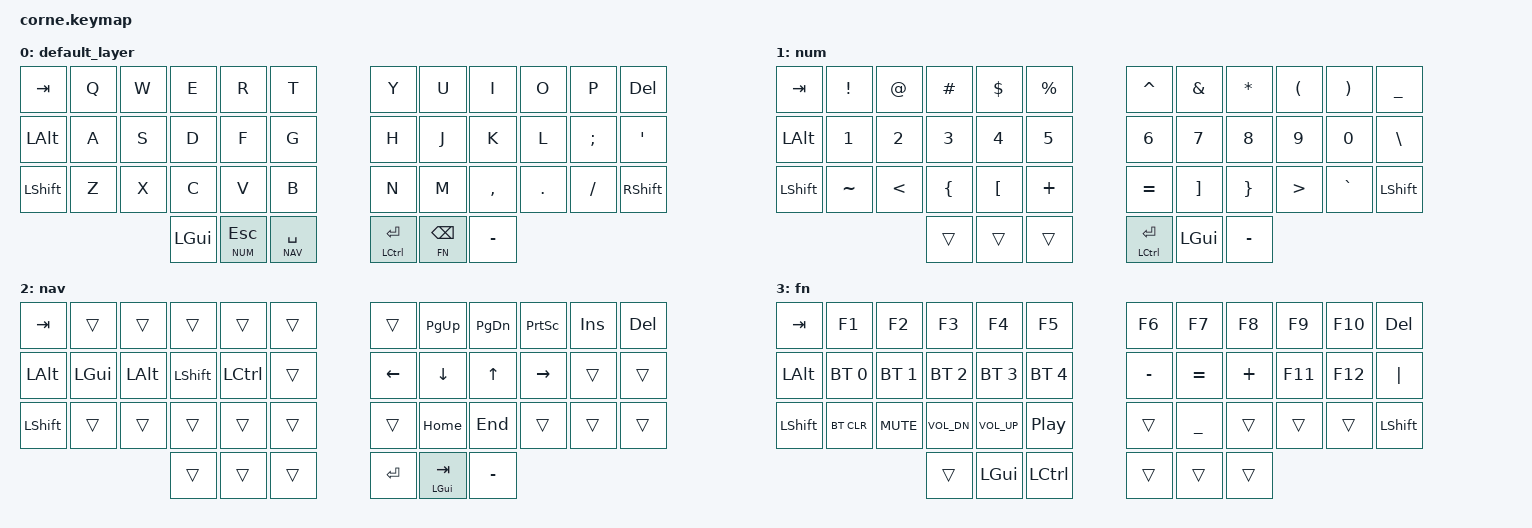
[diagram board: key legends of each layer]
/*
 * Copyright (c) 2020 The ZMK Contributors
 *
 * SPDX-License-Identifier: MIT
 */

#include <behaviors.dtsi>
#include <dt-bindings/zmk/keys.h>
#include <dt-bindings/zmk/bt.h>

// Layer definitions
#define BASE 0
#define NUM 1
#define NAV 2
#define FN 3

// Behaviors config
&mt {
    tapping-term-ms = <200>;
    quick_tap_ms = <0>;
    flavor = "tap-preferred";
};
&lt {
    tapping-term-ms = <200>;
    quick_tap_ms = <0>;
    flavor = "tap-preferred";
};

// Keymaps
/ {
        keymap {
                compatible = "zmk,keymap";
                default_layer {
// ----------------------------------------------------------------------------------------------------------------- 
// | TAB  |  Q  |  W  |    E    |    R    |     T     |      |     Y     |     U      |  I     |  O  |  P  |  DEL |
// | ALT  |  A  |  S  |    D    |    F    |     G     |      |     H     |     J      |  K     |  L  |  ;  |   '  |
// | SHFT |  Z  |  X  |    C    |    V    |     B     |      |     N     |     M      |  ,     |  .  |  /  | SHFT |
//                    |   LGUI  | ESC/NUM | SPACE/NAV |      | RET/CTRL  |  BSPC/FN   | MINUS |
                        
                        bindings = <
   &kp TAB   &kp Q &kp W &kp E &kp R   &kp T               &kp Y &kp U   &kp I     &kp O   &kp P    &kp DEL
   &kp LALT  &kp A &kp S &kp D &kp F   &kp G               &kp H &kp J   &kp K     &kp L   &kp SEMI &kp SQT
   &kp LSHFT &kp Z &kp X &kp C &kp V   &kp B               &kp N &kp M   &kp COMMA &kp DOT &kp FSLH &kp RSHFT
                 &kp LGUI &lt NUM ESC &lt NAV SPACE        &mt LCTRL RET &lt FN BSPC &kp MINUS
                        >;
                };

                num {
// // -----------------------------------------------------------------------------------------
// // |  TAB  |  !   |  @   |   #   |   $   | %  |  #   |  ^  |  &   |  *  |  (  |  )   |  _   |
// // |  ALT  |  1   |  2   |   3   |   4   | 5  |  #   |  6  |  7   |  8  |  9  |  0   |  \   |
// // |  SHFT |  ~   |  <   |   {   |   [   | +  |  #   |  =  |  ]   |  }  |  >  |  `   | SHFT |
// //                       |       | HELD  |    |  #   | RET/CTRL  |   LGUI    |  -   |
                        bindings = <
   &kp TAB    &kp EXCL  &kp AT    &kp HASH   &kp DLLR   &kp PRCNT        &kp CARET   &kp AMPS   &kp ASTRK  &kp LPAR  &kp RPAR   &kp UNDERSCORE
   &kp LALT   &kp N1    &kp N2    &kp N3     &kp N4     &kp N5           &kp N6      &kp N7     &kp N8     &kp N9    &kp N0     &kp BSLH
   &kp LSHFT  &kp TILDE &kp LT    &kp LBRC   &kp LBKT   &kp PLUS         &kp EQUAL   &kp RBKT   &kp RBRC   &kp GT    &kp GRAVE  &kp LSHFT
                                &trans      &trans      &trans           &mt LCTRL RET   &kp LGUI   &kp MINUS
                        >;
                };

                nav {
// // -----------------------------------------------------------------------------------------
// // | TAB   |        |        |        |          |      |  #   |        |  PG_UP      |  PG_DN     |  PSCRN   | INS  | DEL |
// // | ALT   |  LGUI  |  LALT  | LSHFT  |   LCTRL  |      |  #   |  LEFT  |  DOWN       |  UP        |  RIGHT   |      |     |
// // | SHFT  |        |        |        |          |      |  #   |        |  HOME       |  END       |          |      |     |
// //                           |        |          | HELD |  #   |   RET  |  TAB/LGUI   |   -        |
                        bindings = <
   &kp TAB    &trans       &trans       &trans       &trans       &trans         &trans    &kp PG_UP &kp PG_DN &kp PSCRN &kp INS  &kp DEL
   &kp LALT   &kp LGUI     &kp LALT     &kp LSHFT    &kp LCTRL    &trans         &kp LEFT  &kp DOWN  &kp UP    &kp RIGHT &trans  &trans
   &kp LSHFT  &trans       &trans       &trans       &trans       &trans         &trans    &kp HOME  &kp END   &trans    &trans   &trans
                                        &trans       &trans       &trans         &kp RET   &mt LGUI TAB  &kp MINUS
                        >;
                };

                fn {
// // -----------------------------------------------------------------------------------------
// // |  TAB     |  F1    |  F2      |   F3           |   F4            |  F5     | #  |  F6  |  F7  | F8  |  F9  |  F10  |    DEL  |
// // |  ALT     |  BT0   |  BT1     |   BT2          |   BT3           |  BT4    | #  |  -   |  =   |  +  |  F11 |  F12  |   "|"   |
// // |  SHFT    |  BTCLR |  C_MUTE  |   C_VOL_DN     |   C_VOL_UP      |  C_PP   | #  |      |  _   |     |      |       |  SHFT   |
// //                                |                |  LGUI           |  CTRL   | #  |      | HELD |     | 
                        bindings = <
   &kp TAB    &kp F1     &kp F2     &kp F3        &kp F4        &kp F5            &kp F6     &kp F7     &kp F8     &kp F9    &kp F10   &kp DEL
   &kp LALT   &bt BT_SEL 0 &bt BT_SEL 1 &bt BT_SEL 2 &bt BT_SEL 3 &bt BT_SEL 4    &kp MINUS &kp EQUAL  &kp PLUS   &kp F11  &kp F12   &kp PIPE
   &kp LSHFT  &bt BT_CLR &kp C_MUTE &kp C_VOL_DN &kp C_VOL_UP &kp C_PP            &trans    &kp UNDERSCORE &trans   &trans   &trans    &kp LSHFT
                                         &trans        &kp LGUI      &kp LCTRL            &trans    &trans        &trans
                        >;
                };
         };
};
